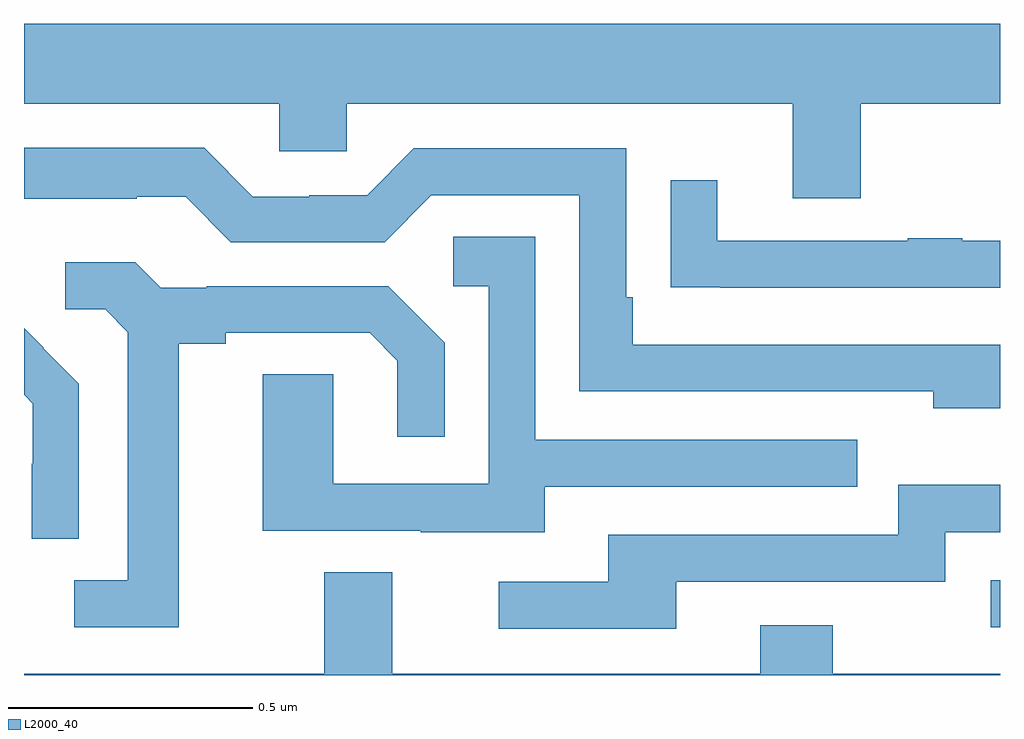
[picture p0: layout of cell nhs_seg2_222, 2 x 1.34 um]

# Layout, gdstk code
import gdstk
lib = gdstk.Library(unit=1e-6, precision=1e-09)
def R(c, l, rs):  # rectangles x0, y0, x1, y1
    for r in rs: c.add(gdstk.rectangle(r[:2], r[2:], *l))
def P(c, l, *ps):  # polygons
    for p in ps: c.add(gdstk.Polygon(p, *l))
L2000_40 = (2000, 40)

nhs_seg2_222 = lib.new_cell('nhs_seg2_222')
R(nhs_seg2_222, L2000_40, [(114.981,643.899,115,643.995)])
P(nhs_seg2_222, L2000_40, [(114.715,644.972),(115,644.972),(115,645.136),(113,645.136),(113,644.972),(113.523,644.972),(113.523,644.874),(113.661,644.874),(113.661,644.972),(114.575,644.972),(114.575,644.778),(114.715,644.778)],
  [(115,644.478),(114.247,644.478),(114.247,644.575),(114.234,644.575),(114.234,644.88),(113.799,644.88),(113.703,644.784),(113.585,644.784),(113.585,644.781),(113.469,644.781),(113.369,644.881),(113,644.881),(113,644.777),(113.231,644.777),(113.231,644.781),(113.331,644.781),(113.424,644.688),(113.739,644.688),(113.835,644.784),(114.138,644.784),(114.138,644.382),(114.863,644.382),(114.863,644.348),(115,644.348)],
  [(115,644.691),(114.923,644.691),(114.923,644.696),(114.811,644.696),(114.811,644.691),(114.421,644.691),(114.421,644.815),(114.325,644.815),(114.325,644.596),(114.427,644.596),(114.427,644.595),(115,644.595)],
  [(114.067,644.187),(114.707,644.187),(114.707,644.283),(114.048,644.283),(114.048,644.699),(113.88,644.699),(113.88,644.598),(113.952,644.598),(113.952,644.193),(113.634,644.193),(113.634,644.417),(113.489,644.417),(113.489,644.097),(113.813,644.097),(113.813,644.093),(114.067,644.093)],
  [(113.317,644.48),(113.413,644.48),(113.413,644.502),(113.708,644.502),(113.765,644.445),(113.765,644.289),(113.862,644.289),(113.862,644.482),(113.746,644.598),(113.374,644.598),(113.374,644.595),(113.28,644.595),(113.228,644.647),(113.085,644.647),(113.085,644.55),(113.166,644.55),(113.213,644.503),(113.213,643.995),(113.103,643.995),(113.103,643.899),(113.317,643.899)],
  [(113.112,644.398),(113.039,644.471),(113.04,644.472),(113,644.512),(113,644.375),(113.018,644.357),(113.018,644.234),(113.016,644.234),(113.016,644.08),(113.112,644.08)],
  [(114.337,643.992),(114.888,643.992),(114.888,644.094),(115,644.094),(115,644.191),(114.792,644.191),(114.792,644.088),(114.197,644.088),(114.197,643.992),(113.973,643.992),(113.973,643.896),(114.337,643.896)],
  [(115,643.804),(114.657,643.804),(114.657,643.903),(114.509,643.903),(114.509,643.804),(113.755,643.804),(113.755,644.012),(113.615,644.012),(113.615,643.804),(113,643.804),(113,643.8),(115,643.8)])

lib.write_gds('nhs_seg2_222.gds')
